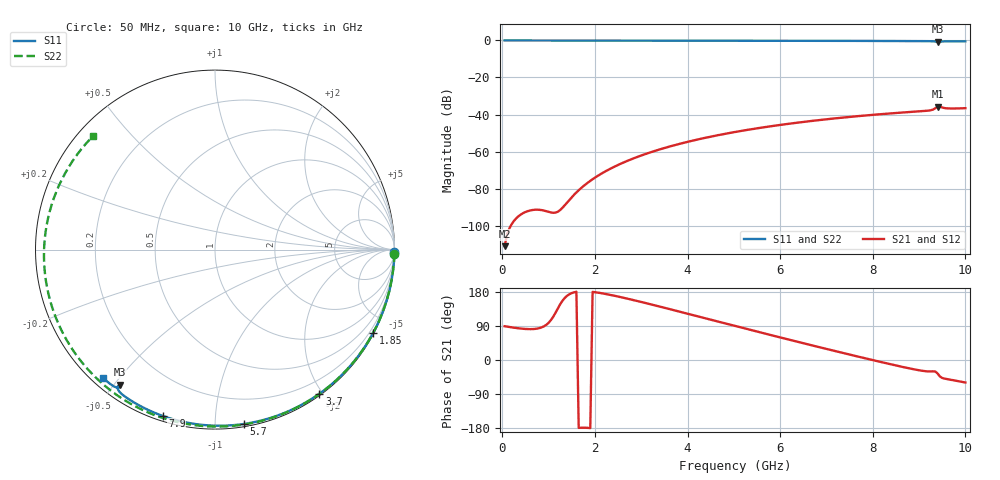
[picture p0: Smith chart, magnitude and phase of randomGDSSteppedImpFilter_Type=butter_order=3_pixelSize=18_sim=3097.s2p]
! freq	dB(S11)	phase(S11)	dB(S12)	phase(S12)
!  dB(S21)	phase(S21)	dB(S22)	phase(S22)
!S-par simulation data
#  GHz  S  DB  R 50
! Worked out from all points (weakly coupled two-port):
!   200 points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, 50 MHz to 10 GHz, reference 50 ohm
!   highest |S21| = -35.76 dB at 9.4 GHz (marker M1); lowest = -111.1 dB at 50 MHz (marker M2)
!   lowest |S11| = -0.7 dB at 9.4 GHz (marker M3), VSWR 24.42, Z = 2.6 - j25.9 ohm
!   |S11| at or under -10 dB: nowhere
!   |S22| runs from -0.6 to 0.0 dB; largest |S21 - S12| = 0
!   S11 on the Smith chart (normalised r, x): 50 MHz: open; 1.85 GHz: 0.04, -4.06; 3.7 GHz: 0.02, -1.96; 5.7 GHz: 0.02, -1.18; 7.9 GHz: 0.02, -0.73; 10 GHz: 0.03, -0.45
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0.05  -0.00 -0.8  -111.12 89.1  -111.12 89.1  -0.00 -1.3
0.8  -0.02 -12.1  -91.48 84.1  -91.48 84.1  -0.03 -19.9
1.65  -0.03 -24.7  -80.91 -179.2  -80.91 -179.2  -0.05 -40.6
1.75  -0.03 -26.2  -78.72 -178.6  -78.72 -178.6  -0.05 -43.0
1.85  -0.04 -27.7  -76.75 -179.1  -76.75 -179.1  -0.06 -45.4
2.15  -0.04 -32.1  -71.79 176.1  -71.79 176.1  -0.07 -52.5
2.5  -0.05 -37.1  -67.25 167.5  -67.25 167.5  -0.08 -60.6
2.9  -0.06 -42.9  -63.06 156.1  -63.06 156.1  -0.09 -69.7
3.4  -0.07 -49.9  -58.85 141.0  -58.85 141.0  -0.11 -80.9
3.7  -0.07 -54.1  -56.70 131.6  -56.70 131.6  -0.12 -87.4
4.35  -0.09 -62.9  -52.76 111.2  -52.76 111.2  -0.14 -101.3
5.05  -0.11 -72.2  -49.34 89.1  -49.34 89.1  -0.18 -115.9
5.7  -0.13 -80.6  -46.70 68.9  -46.70 68.9  -0.21 -129.1
6.7  -0.18 -93.1  -43.42 38.2  -43.42 38.2  -0.29 -149.4
7.3  -0.21 -100.4  -41.79 20.2  -41.79 20.2  -0.34 -161.7
7.9  -0.25 -107.5  -40.39 2.6  -40.39 2.6  -0.40 -174.3
8.35  -0.28 -112.8  -39.47 -10.2  -39.47 -10.2  -0.44 175.9
9.2  -0.38 -123.1  -37.92 -30.2  -37.92 -30.2  -0.55 156.6
9.3  -0.46 -124.7  -37.36 -29.9  -37.36 -29.9  -0.56 154.3
9.4  -0.71 -125.2  -35.76 -35.6  -35.76 -35.6  -0.57 151.9
9.65  -0.46 -126.8  -36.74 -51.3  -36.74 -51.3  -0.60 145.8
10  -0.46 -131.1  -36.58 -59.4  -36.58 -59.4  -0.65 137.0
